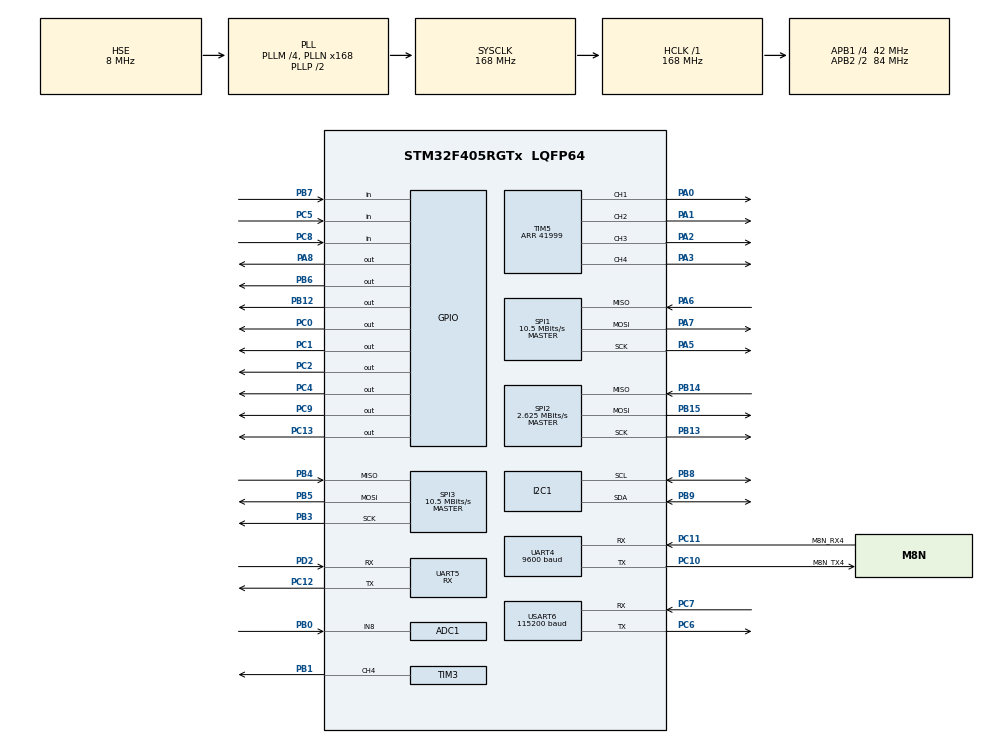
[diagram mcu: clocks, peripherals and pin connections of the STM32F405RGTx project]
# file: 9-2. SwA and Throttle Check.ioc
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ADC1.Channel-0\#ChannelRegularConversion=ADC_CHANNEL_8
ADC1.ClockPrescaler=ADC_CLOCK_SYNC_PCLK_DIV8
ADC1.ContinuousConvMode=ENABLE
ADC1.DMAContinuousRequests=ENABLE
ADC1.NbrOfConversionFlag=1
ADC1.Rank-0\#ChannelRegularConversion=1
ADC1.SamplingTime-0\#ChannelRegularConversion=ADC_SAMPLETIME_480CYCLES
ADC1.master=1
Dma.ADC1.0.Direction=DMA_PERIPH_TO_MEMORY
Dma.ADC1.0.FIFOMode=DMA_FIFOMODE_DISABLE
Dma.ADC1.0.Instance=DMA2_Stream0
Dma.ADC1.0.MemDataAlignment=DMA_MDATAALIGN_HALFWORD
Dma.ADC1.0.MemInc=DMA_MINC_DISABLE
Dma.ADC1.0.Mode=DMA_CIRCULAR
Dma.ADC1.0.PeriphDataAlignment=DMA_PDATAALIGN_HALFWORD
Dma.ADC1.0.PeriphInc=DMA_PINC_DISABLE
Dma.ADC1.0.Priority=DMA_PRIORITY_LOW
Dma.Request0=ADC1
I2C1.I2C_Mode=I2C_Fast
Mcu.Family=STM32F4
Mcu.Name=STM32F405RGTx
Mcu.Package=LQFP64
NVIC.DMA2_Stream0_IRQn=true\:0\:0\:false\:false\:true\:false\:true\:true
NVIC.PriorityGroup=NVIC_PRIORITYGROUP_4
NVIC.UART4_IRQn=true\:0\:0\:false\:false\:true\:true\:true\:true
NVIC.UART5_IRQn=true\:0\:0\:false\:false\:true\:true\:true\:true
NVIC.USART6_IRQn=true\:0\:0\:false\:false\:true\:true\:true\:true
PA0-WKUP.Signal=S_TIM5_CH1
PA1.Signal=S_TIM5_CH2
PA2.Signal=S_TIM5_CH3
PA3.Signal=S_TIM5_CH4
PA5.Mode=Full_Duplex_Master
PA5.Signal=SPI1_SCK
PA6.Mode=Full_Duplex_Master
PA6.Signal=SPI1_MISO
PA7.Mode=Full_Duplex_Master
PA7.Signal=SPI1_MOSI
PA8.Signal=GPIO_Output
PB0.Signal=ADCx_IN8
PB1.Signal=S_TIM3_CH4
PB12.Signal=GPIO_Output
PB13.Mode=Full_Duplex_Master
PB13.Signal=SPI2_SCK
PB14.Mode=Full_Duplex_Master
PB14.Signal=SPI2_MISO
PB15.Mode=Full_Duplex_Master
PB15.Signal=SPI2_MOSI
PB3.Mode=Full_Duplex_Master
PB3.Signal=SPI3_SCK
PB4.Mode=Full_Duplex_Master
PB4.Signal=SPI3_MISO
PB5.Mode=Full_Duplex_Master
PB5.Signal=SPI3_MOSI
PB6.Signal=GPIO_Output
PB7.Signal=GPIO_Input
PB8.Mode=I2C
PB8.Signal=I2C1_SCL
PB9.Mode=I2C
PB9.Signal=I2C1_SDA
PC0.Signal=GPIO_Output
PC1.Signal=GPIO_Output
PC10.GPIO_Label=M8N_TX4
PC10.Mode=Asynchronous
PC10.Signal=UART4_TX
PC11.GPIO_Label=M8N_RX4
PC11.Mode=Asynchronous
PC11.Signal=UART4_RX
PC12.Mode=Asynchronous
PC12.Signal=UART5_TX
PC13-ANTI_TAMP.PinState=GPIO_PIN_SET
PC13-ANTI_TAMP.Signal=GPIO_Output
PC2.Signal=GPIO_Output
PC4.Signal=GPIO_Output
PC5.Signal=GPIO_Input
PC6.Mode=Asynchronous
PC6.Signal=USART6_TX
PC7.Mode=Asynchronous
PC7.Signal=USART6_RX
PC8.Signal=GPIO_Input
PC9.Signal=GPIO_Output
PD2.Mode=Asynchronous
PD2.Signal=UART5_RX
PH0-OSC_IN.Mode=HSE-External-Oscillator
PH0-OSC_IN.Signal=RCC_OSC_IN
PH1-OSC_OUT.Mode=HSE-External-Oscillator
PH1-OSC_OUT.Signal=RCC_OSC_OUT
ProjectManager.HeapSize=0x200
ProjectManager.StackSize=0x400
ProjectManager.TargetToolchain=STM32CubeIDE
RCC.48MHZClocksFreq_Value=84000000
RCC.AHBFreq_Value=168000000
RCC.APB1CLKDivider=RCC_HCLK_DIV4
RCC.APB1Freq_Value=42000000
RCC.APB1TimFreq_Value=84000000
RCC.APB2CLKDivider=RCC_HCLK_DIV2
RCC.APB2Freq_Value=84000000
RCC.APB2TimFreq_Value=168000000
RCC.CortexFreq_Value=168000000
RCC.HCLKFreq_Value=168000000
RCC.HSE_VALUE=8000000
RCC.HSI_VALUE=16000000
RCC.LSE_VALUE=32768
RCC.PLLM=4
RCC.PLLN=168
RCC.PLLSourceVirtual=RCC_PLLSOURCE_HSE
RCC.SYSCLKFreq_VALUE=168000000
RCC.SYSCLKSource=RCC_SYSCLKSOURCE_PLLCLK
RCC.VCOOutputFreq_Value=336000000
SH.ADCx_IN8.0=ADC1_IN8,IN8
SH.S_TIM3_CH4.0=TIM3_CH4,PWM Generation4 CH4
SH.S_TIM5_CH1.0=TIM5_CH1,PWM Generation1 CH1
SH.S_TIM5_CH2.0=TIM5_CH2,PWM Generation2 CH2
SH.S_TIM5_CH3.0=TIM5_CH3,PWM Generation3 CH3
SH.S_TIM5_CH4.0=TIM5_CH4,PWM Generation4 CH4
SPI1.BaudRatePrescaler=SPI_BAUDRATEPRESCALER_8
SPI1.CLKPhase=SPI_PHASE_2EDGE
SPI1.CLKPolarity=SPI_POLARITY_HIGH
SPI1.CalculateBaudRate=10.5 MBits/s
SPI1.Direction=SPI_DIRECTION_2LINES
SPI1.Mode=SPI_MODE_MASTER
SPI1.VirtualType=VM_MASTER
SPI2.BaudRatePrescaler=SPI_BAUDRATEPRESCALER_16
SPI2.CLKPhase=SPI_PHASE_2EDGE
SPI2.CLKPolarity=SPI_POLARITY_HIGH
SPI2.CalculateBaudRate=2.625 MBits/s
SPI2.Direction=SPI_DIRECTION_2LINES
SPI2.Mode=SPI_MODE_MASTER
SPI2.VirtualType=VM_MASTER
SPI3.BaudRatePrescaler=SPI_BAUDRATEPRESCALER_4
SPI3.CLKPhase=SPI_PHASE_2EDGE
SPI3.CLKPolarity=SPI_POLARITY_HIGH
SPI3.CalculateBaudRate=10.5 MBits/s
SPI3.Direction=SPI_DIRECTION_2LINES
SPI3.Mode=SPI_MODE_MASTER
SPI3.VirtualType=VM_MASTER
TIM3.AutoReloadPreload=TIM_AUTORELOAD_PRELOAD_ENABLE
TIM3.Channel-PWM\ Generation4\ CH4=TIM_CHANNEL_4
TIM3.OCFastMode_PWM-PWM\ Generation4\ CH4=TIM_OCFAST_ENABLE
TIM3.Period=20
TIM3.Prescaler=999
TIM3.Pulse-PWM\ Generation4\ CH4=10
TIM5.AutoReloadPreload=TIM_AUTORELOAD_PRELOAD_ENABLE
TIM5.Channel-PWM\ Generation1\ CH1=TIM_CHANNEL_1
TIM5.Channel-PWM\ Generation2\ CH2=TIM_CHANNEL_2
TIM5.Channel-PWM\ Generation3\ CH3=TIM_CHANNEL_3
TIM5.Channel-PWM\ Generation4\ CH4=TIM_CHANNEL_4
TIM5.OCFastMode_PWM-PWM\ Generation1\ CH1=TIM_OCFAST_ENABLE
TIM5.OCFastMode_PWM-PWM\ Generation2\ CH2=TIM_OCFAST_ENABLE
TIM5.OCFastMode_PWM-PWM\ Generation3\ CH3=TIM_OCFAST_ENABLE
TIM5.OCFastMode_PWM-PWM\ Generation4\ CH4=TIM_OCFAST_ENABLE
TIM5.Period=41999
TIM5.Pulse-PWM\ Generation1\ CH1=0
TIM5.Pulse-PWM\ Generation2\ CH2=0
TIM5.Pulse-PWM\ Generation3\ CH3=0
TIM5.Pulse-PWM\ Generation4\ CH4=0
UART4.BaudRate=9600
UART4.VirtualMode=Asynchronous
UART5.Mode=MODE_RX
UART5.VirtualMode=Asynchronous
USART6.BaudRate=115200
USART6.VirtualMode=VM_ASYNC
VP_TIM3_VS_ClockSourceINT.Mode=Internal
VP_TIM5_VS_ClockSourceINT.Mode=Internal
board=custom

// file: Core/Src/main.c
/* USER CODE BEGIN Header */
/**
  ******************************************************************************
  * @file           : main.c
  * @brief          : Main program body
  ******************************************************************************
  * @attention
  *
  * Copyright (c) 2023 STMicroelectronics.
  * All rights reserved.
  *
  * This software is licensed under terms that can be found in the LICENSE file
  * in the root directory of this software component.
  * If no LICENSE file comes with this software, it is provided AS-IS.
  *
  ******************************************************************************
  */
/* USER CODE END Header */
#include "main.h"
#include "adc.h"
#include "dma.h"
#include "i2c.h"
#include "spi.h"
#include "tim.h"
#include "usart.h"
#include "gpio.h"

/* USER CODE BEGIN Includes */
#include <stdio.h>
#include "BNO080.h"
#include "Quaternion.h"
#include "ICM20602.h"
#include "LPS22HH.h"
#include "M8N.h"
#include "FS-iA6B.h"
#include "AT24C08.h"
/* USER CODE END Includes */

/* USER CODE BEGIN PTD */
int _write(int file, char* p, int len){
	for(int i = 0; i < len; i++){
		while(!LL_USART_IsActiveFlag_TXE(USART6));
		LL_USART_TransmitData8(USART6, *(p + i));
	}
	return len;
}
/* USER CODE END PTD */

/* USER CODE BEGIN PV */
extern uint8_t uart6_rx_flag;
extern uint8_t uart6_rx_data;

extern uint8_t m8n_rx_buf[36];
extern uint8_t m8n_rx_cplt_flag;

extern uint8_t ibus_rx_buf[32];
extern uint8_t ibus_rx_cplt_flag;
/* USER CODE END PV */

void SystemClock_Config(void);
/* USER CODE BEGIN PFP */
int Is_iBus_Throttle_Min(void);
void ESC_Calibration(void);
int Is_iBus_Received(void);
void BNO080_Calibration(void);
/* USER CODE END PFP */

int main(void)
{
  /* USER CODE BEGIN 1 */
	float Q[4];
	float quatRadianAccuracy;
   	unsigned char buf_read[16] = {0};
	unsigned char buf_write[16] = {1, 2, 3, 4, 5, 6, 7, 8, 9, 10, 11, 12, 13, 14, 15, 16};
	unsigned short adcVal;
	float batvol;
	short gyro_x_offset =12, gyro_y_offset = 16, gyro_z_offset = 9;
	unsigned char motor_arming_flag = 0;
	unsigned short iBus_SwA_Prev = 0;
  /* USER CODE END 1 */

  /* MCU Configuration--------------------------------------------------------*/

  /* Reset of all peripherals, Initializes the Flash interface and the Systick. */
  HAL_Init();

  /* Configure the system clock */
  SystemClock_Config();

  /* Initialize all configured peripherals */
  MX_GPIO_Init();
  MX_DMA_Init();
  MX_TIM3_Init();
  MX_USART6_UART_Init();
  MX_SPI2_Init();
  MX_SPI1_Init();
  MX_SPI3_Init();
  MX_UART4_Init();
  MX_UART5_Init();
  MX_TIM5_Init();
  MX_I2C1_Init();
  MX_ADC1_Init();
  /* USER CODE BEGIN 2 */
  LL_TIM_EnableCounter(TIM3);//Buzzer

  LL_USART_EnableIT_RXNE(USART6);//Debug UART
  LL_USART_EnableIT_RXNE(UART4);//GPS
  LL_USART_EnableIT_RXNE(UART5);//FS-iA6B

  LL_TIM_EnableCounter(TIM5);//Motor ADC
  LL_TIM_CC_EnableChannel(TIM5, LL_TIM_CHANNEL_CH1);
  LL_TIM_CC_EnableChannel(TIM5, LL_TIM_CHANNEL_CH2);
  LL_TIM_CC_EnableChannel(TIM5, LL_TIM_CHANNEL_CH3);
  LL_TIM_CC_EnableChannel(TIM5, LL_TIM_CHANNEL_CH4);

  HAL_ADC_Start_DMA(&hadc1, &adcVal, 1);//Battery ADC

  TIM3->PSC = 1000;
  LL_TIM_CC_EnableChannel(TIM3, LL_TIM_CHANNEL_CH4);
  HAL_Delay(60);
  LL_TIM_CC_DisableChannel(TIM3, LL_TIM_CHANNEL_CH4);
  HAL_Delay(60);
  LL_TIM_CC_EnableChannel(TIM3, LL_TIM_CHANNEL_CH4);
  HAL_Delay(60);
  LL_TIM_CC_DisableChannel(TIM3, LL_TIM_CHANNEL_CH4);
  HAL_Delay(60);
  printf("Checking Sensor connection.\n");

  if(BNO080_Initialization() != 0)
  {
	  LL_TIM_CC_EnableChannel(TIM3, LL_TIM_CHANNEL_CH4);
	  TIM3->PSC = 1000;
	  HAL_Delay(100);
	  TIM3->PSC = 1500;
	  HAL_Delay(100);
	  TIM3->PSC = 2000;
	  HAL_Delay(100);
	  LL_TIM_CC_DisableChannel(TIM3, LL_TIM_CHANNEL_CH4);

	  printf("\nBNO080 failed. Program shutting down...");

	  while(1)
	  {
		  LL_TIM_CC_DisableChannel(TIM3, LL_TIM_CHANNEL_CH4);
		  LL_GPIO_TogglePin(GPIOC, LL_GPIO_PIN_0);
		  HAL_Delay(200);
		  LL_TIM_CC_EnableChannel(TIM3, LL_TIM_CHANNEL_CH4);
		  LL_GPIO_TogglePin(GPIOC, LL_GPIO_PIN_0);
		  HAL_Delay(200);
	  }
  }
  BNO080_enableRotationVector(2500);

  if(ICM20602_Initialization() != 0)
  {
	  LL_TIM_CC_EnableChannel(TIM3, LL_TIM_CHANNEL_CH4);
	  TIM3->PSC = 1000;
	  HAL_Delay(100);
	  TIM3->PSC = 1500;
	  HAL_Delay(100);
	  TIM3->PSC = 2000;
	  HAL_Delay(100);
	  LL_TIM_CC_DisableChannel(TIM3, LL_TIM_CHANNEL_CH4);

	  printf("\nICM-20602 failed. Program shutting down...");

	  while(1)
	  {
		  LL_TIM_CC_DisableChannel(TIM3, LL_TIM_CHANNEL_CH4);
		  LL_GPIO_TogglePin(GPIOC, LL_GPIO_PIN_1);
		  HAL_Delay(200);
		  LL_TIM_CC_EnableChannel(TIM3, LL_TIM_CHANNEL_CH4);
		  LL_GPIO_TogglePin(GPIOC, LL_GPIO_PIN_1);
		  HAL_Delay(200);
	  }
  }

  if(LPS22HH_Initialization() != 0)
  {
	  LL_TIM_CC_EnableChannel(TIM3, LL_TIM_CHANNEL_CH4);
	  TIM3->PSC = 1000;
	  HAL_Delay(100);
	  TIM3->PSC = 1500;
	  HAL_Delay(100);
	  TIM3->PSC = 2000;
	  HAL_Delay(100);
	  LL_TIM_CC_DisableChannel(TIM3, LL_TIM_CHANNEL_CH4);

	  printf("\nLPS22HH failed. Program shutting down...");

	  while(1)
	  {
		  LL_TIM_CC_DisableChannel(TIM3, LL_TIM_CHANNEL_CH4);
		  LL_GPIO_TogglePin(GPIOC, LL_GPIO_PIN_2);
		  HAL_Delay(200);
		  LL_TIM_CC_EnableChannel(TIM3, LL_TIM_CHANNEL_CH4);
		  LL_GPIO_TogglePin(GPIOC, LL_GPIO_PIN_2);
		  HAL_Delay(200);
	  }
  }
  printf("All Sensor OK!\n");
  M8N_Initialzation();

  ICM20602_Writebyte(0x13, (gyro_x_offset * -2)>>8);
  ICM20602_Writebyte(0x14, (gyro_x_offset * -2));

  ICM20602_Writebyte(0x15, (gyro_y_offset * -2)>>8);
  ICM20602_Writebyte(0x16, (gyro_y_offset * -2));

  ICM20602_Writebyte(0x17, (gyro_z_offset * -2)>>8);
  ICM20602_Writebyte(0x18, (gyro_z_offset * -2));

  while(Is_iBus_Received() == 0){
	  LL_TIM_CC_EnableChannel(TIM3, LL_TIM_CHANNEL_CH4);
	  TIM3->PSC = 3000;
	  HAL_Delay(200);
	  LL_TIM_CC_DisableChannel(TIM3, LL_TIM_CHANNEL_CH4);
	  HAL_Delay(200);
  }

  if(iBus.SwC == 2000)
  {
	  LL_TIM_CC_EnableChannel(TIM3, LL_TIM_CHANNEL_CH4);
	  TIM3->PSC = 1500;
	  HAL_Delay(200);
	  TIM3->PSC = 2000;
	  HAL_Delay(200);
	  TIM3->PSC = 1500;
	  HAL_Delay(200);
	  TIM3->PSC = 2000;
	  LL_TIM_CC_DisableChannel(TIM3, LL_TIM_CHANNEL_CH4);

	  ESC_Calibration();
	  while(iBus.SwC != 1000) {
		  Is_iBus_Received();
		  LL_TIM_CC_EnableChannel(TIM3, LL_TIM_CHANNEL_CH4);
		  TIM3->PSC = 1500;
		  HAL_Delay(200);
		  TIM3->PSC = 2000;
		  HAL_Delay(200);
		  LL_TIM_CC_DisableChannel(TIM3, LL_TIM_CHANNEL_CH4);
	  }
  }
  else if(iBus.SwC == 1500)
  {
	  LL_TIM_CC_EnableChannel(TIM3, LL_TIM_CHANNEL_CH4);
	  TIM3->PSC = 1500;
	  HAL_Delay(200);
	  TIM3->PSC = 2000;
	  HAL_Delay(200);
	  TIM3->PSC = 1500;
	  HAL_Delay(200);
	  TIM3->PSC = 2000;
	  LL_TIM_CC_DisableChannel(TIM3, LL_TIM_CHANNEL_CH4);

	  BNO080_Calibration();
	  while(iBus.SwC != 1000) {
		  Is_iBus_Received();
		  LL_TIM_CC_EnableChannel(TIM3, LL_TIM_CHANNEL_CH4);
		  TIM3->PSC = 1500;
		  HAL_Delay(200);
		  TIM3->PSC = 2000;
		  HAL_Delay(200);
		  LL_TIM_CC_DisableChannel(TIM3, LL_TIM_CHANNEL_CH4);
	  }
  }

  while(Is_iBus_Throttle_Min() == 0 || iBus.SwA == 2000) {
	  LL_TIM_CC_EnableChannel(TIM3, LL_TIM_CHANNEL_CH4);
	  TIM3->PSC = 1000;
	  HAL_Delay(70);
	  LL_TIM_CC_DisableChannel(TIM3, LL_TIM_CHANNEL_CH4);
	  HAL_Delay(70);
  }

  LL_TIM_CC_EnableChannel(TIM3, LL_TIM_CHANNEL_CH4);
  TIM3->PSC = 2000;
  HAL_Delay(100);
  TIM3->PSC = 1500;
  HAL_Delay(100);
  TIM3->PSC = 1000;
  HAL_Delay(100);
  LL_TIM_CC_DisableChannel(TIM3, LL_TIM_CHANNEL_CH4);

  printf("Start\n");

  /* USER CODE END 2 */

  /* Infinite loop */
  /* USER CODE BEGIN WHILE */
  while (1)
  {

/*	  if(BNO080_dataAvailable() == 1){
		  LL_GPIO_TogglePin(GPIOC, LL_GPIO_PIN_0);
		  Q[0] = BNO080_getQuatI();
		  Q[1] = BNO080_getQuatJ();
		  Q[2] = BNO080_getQuatK();
		  Q[3] = BNO080_getQuatReal();
		  quatRadianAccuracy = BNO080_getQuatRadianAccuracy();

		  Quaternion_Update(&Q[0]);

		  //printf("%.2f\t%.2f\n", BNO080_Roll, BNO080_Pitch);
		  printf("%.2f\n", BNO080_Yaw);
	  }*/

/*	  if(ICM20602_DataReady() == 1){
		  LL_GPIO_TogglePin(GPIOC, LL_GPIO_PIN_1);
		  ICM20602_Get3AxisGyroRawData(&ICM20602.gyro_x_raw);
		  ICM20602.gyro_x = ICM20602.gyro_x_raw * 2000.f / 32768.f;
		  ICM20602.gyro_y = ICM20602.gyro_y_raw * 2000.f / 32768.f;
		  ICM20602.gyro_z = ICM20602.gyro_z_raw * 2000.f / 32768.f;

		 printf("%d, %d, %d\n", ICM20602.gyro_x_raw, ICM20602.gyro_y_raw, ICM20602.gyro_z_raw);
	  }*/

/*
	  if(LPS22HH_DataReady() == 1) {
		  LPS22HH_GetPressure(&LPS22HH.pressure_raw);
		  LPS22HH_GetTemperature(&LPS22HH.temperature_raw);
		  LPS22HH.baroAlt = getAltitude2(LPS22HH.pressure_raw/4096.f, LPS22HH.temperature_raw/100.f);
#define X 0.90f
		  LPS22HH.baroAltFilt = LPS22HH.baroAltFilt * X + LPS22HH.baroAlt * (1.0f -X);

		  printf("%d, %d\n", (int)(LPS22HH.baroAlt * 100), (int)(LPS22HH.baroAltFilt * 100));
	  }
*/

/*	  if(m8n_rx_cplt_flag == 1) {
		  m8n_rx_cplt_flag = 0;
		  if(M8N_UBX_CHKSUM_Check(&m8n_rx_buf[0], 36) == 1){
			  LL_GPIO_TogglePin(GPIOC, LL_GPIO_PIN_2);
			  M8N_UBX_NAV_POSLLH_Pasing(&m8n_rx_buf[0], &posllh);

			  printf("LAT: %d\tLOT: %d\tLength: %d\t\n", posllh.lon, posllh.lat, posllh.length);
		  }
	  }*/
	  if(ibus_rx_cplt_flag == 1){
		  ibus_rx_cplt_flag = 0;
		  if(iBus_Check_CHKSUM(&ibus_rx_buf[0], 32) == 1){
			  LL_GPIO_TogglePin(GPIOC, LL_GPIO_PIN_2);

			  iBus_Parsing(&ibus_rx_buf[0], &iBus);

			  if(iBus_isActive_Failsafe(&iBus) == 1){
				  LL_TIM_CC_EnableChannel(TIM3, LL_TIM_CHANNEL_CH4);
			  }
			  else
				  LL_TIM_CC_DisableChannel(TIM3, LL_TIM_CHANNEL_CH4);

			  //printf("%d\t%d\t%d\t%d\t%d\t%d\t%d\n", iBus.RH, iBus.RV, iBus.LV, iBus.LH, iBus.SwA, iBus.SwC, iBus.FailSafe);
			  //HAL_Delay(50);
		  }
	  }
	  batvol = adcVal * 0.003619f;
	  //printf("%d\t %f\n", adcVal, batvol);
	  if(batvol < 10.0f)
	  {
		  TIM3->PSC = 1500;
		  LL_TIM_CC_EnableChannel(TIM3, LL_TIM_CHANNEL_CH4);
	  }
	  else
		  LL_TIM_CC_DisableChannel(TIM3, LL_TIM_CHANNEL_CH4);

	  if(iBus.SwA == 2000 && iBus_SwA_Prev != 2000)
	  {
		  if(iBus.LV < 1010)
		  {
			  motor_arming_flag = 1;
			  printf("Here\n");
		  }
		  else
		  {
			  while(Is_iBus_Throttle_Min() == 0 || iBus.SwA == 2000)
			  {
				  LL_TIM_CC_EnableChannel(TIM3, LL_TIM_CHANNEL_CH4);
				  TIM3->PSC = 1000;
				  HAL_Delay(70);
				  LL_TIM_CC_DisableChannel(TIM3, LL_TIM_CHANNEL_CH4);
				  HAL_Delay(70);
				  printf("OK!\n");
			  }
		  }
	  }
	  iBus_SwA_Prev = iBus.SwA;

	  if(iBus.SwA != 2000)
	  {
		  motor_arming_flag = 0;
	  }
	  if(motor_arming_flag == 1)
	  {
		  TIM5->CCR1 = 10500 + 500 + (iBus.LV - 1000) * 10;
		  TIM5->CCR2 = 10500 + 500 + (iBus.LV - 1000) * 10;
		  TIM5->CCR3 = 10500 + 500 + (iBus.LV - 1000) * 10;
		  TIM5->CCR4 = 10500 + 500 + (iBus.LV - 1000) * 10;
	  }
	  else
	  {
		  TIM5->CCR1 = 10500;
		  TIM5->CCR2 = 10500;
		  TIM5->CCR3 = 10500;
		  TIM5->CCR4 = 10500;
	  }

  }
    /* USER CODE END WHILE */

}

void SystemClock_Config(void)
{
  RCC_OscInitTypeDef RCC_OscInitStruct = {0};
  RCC_ClkInitTypeDef RCC_ClkInitStruct = {0};

  /** Configure the main internal regulator output voltage
  */
  __HAL_RCC_PWR_CLK_ENABLE();
  __HAL_PWR_VOLTAGESCALING_CONFIG(PWR_REGULATOR_VOLTAGE_SCALE1);

  /** Initializes the RCC Oscillators according to the specified parameters
  * in the RCC_OscInitTypeDef structure.
  */
  RCC_OscInitStruct.OscillatorType = RCC_OSCILLATORTYPE_HSE;
  RCC_OscInitStruct.HSEState = RCC_HSE_ON;
  RCC_OscInitStruct.PLL.PLLState = RCC_PLL_ON;
  RCC_OscInitStruct.PLL.PLLSource = RCC_PLLSOURCE_HSE;
  RCC_OscInitStruct.PLL.PLLM = 4;
  RCC_OscInitStruct.PLL.PLLN = 168;
  RCC_OscInitStruct.PLL.PLLP = RCC_PLLP_DIV2;
  RCC_OscInitStruct.PLL.PLLQ = 4;
  if (HAL_RCC_OscConfig(&RCC_OscInitStruct) != HAL_OK)
  {
    Error_Handler();
  }

  /** Initializes the CPU, AHB and APB buses clocks
  */
  RCC_ClkInitStruct.ClockType = RCC_CLOCKTYPE_HCLK|RCC_CLOCKTYPE_SYSCLK
                              |RCC_CLOCKTYPE_PCLK1|RCC_CLOCKTYPE_PCLK2;
  RCC_ClkInitStruct.SYSCLKSource = RCC_SYSCLKSOURCE_PLLCLK;
  RCC_ClkInitStruct.AHBCLKDivider = RCC_SYSCLK_DIV1;
  RCC_ClkInitStruct.APB1CLKDivider = RCC_HCLK_DIV4;
  RCC_ClkInitStruct.APB2CLKDivider = RCC_HCLK_DIV2;

  if (HAL_RCC_ClockConfig(&RCC_ClkInitStruct, FLASH_LATENCY_5) != HAL_OK)
  {
    Error_Handler();
  }
}

/* USER CODE BEGIN 4 */
int Is_iBus_Throttle_Min(void) {
	if(ibus_rx_cplt_flag == 1){
		ibus_rx_cplt_flag = 0;
		if(iBus_Check_CHKSUM(&ibus_rx_buf[0], 32) == 1){

			iBus_Parsing(&ibus_rx_buf[0], &iBus);
			if(iBus.LV < 1010)
				return 1;
		}
	}
	return 0;
}

void ESC_Calibration(void) {
	  TIM5->CCR1 = 21000;
	  TIM5->CCR2 = 21000;
	  TIM5->CCR3 = 21000;
	  TIM5->CCR4 = 21000;
	  HAL_Delay(7000);

	  TIM5->CCR1 = 10500;
	  TIM5->CCR2 = 10500;
	  TIM5->CCR3 = 10500;
	  TIM5->CCR4 = 10500;
	  HAL_Delay(8000);
}
int Is_iBus_Received(void) {
	if(ibus_rx_cplt_flag == 1){
		ibus_rx_cplt_flag = 0;
		if(iBus_Check_CHKSUM(&ibus_rx_buf[0], 32) == 1){

			iBus_Parsing(&ibus_rx_buf[0], &iBus);
			return 1;
		}
	}
	return 0;
}
void BNO080_Calibration(void)
{
	//Resets BNO080 to disable All output
	BNO080_Initialization();

	//BNO080/BNO085 Configuration
	//Enable dynamic calibration for accelerometer, gyroscope, and magnetometer
	//Enable Game Rotation Vector output
	//Enable Magnetic Field output
	BNO080_calibrateAll(); //Turn on cal for Accel, Gyro, and Mag
	BNO080_enableGameRotationVector(20000); //Send data update every 20ms (50Hz)
	BNO080_enableMagnetometer(20000); //Send data update every 20ms (50Hz)

	//Once magnetic field is 2 or 3, run the Save DCD Now command
	printf("Calibrating BNO080. Pull up FS-i6 SWC to end calibration and save to flash\n");
	printf("Output in form x, y, z, in uTesla\n\n");

	//while loop for calibration procedure
	//Iterates until iBus.SwC is mid point (1500)
	//Calibration procedure should be done while this loop is in iteration.
	while(iBus.SwC == 1500)
	{
		if(BNO080_dataAvailable() == 1)
		{
			//Observing the status bit of the magnetic field output
			float x = BNO080_getMagX();
			float y = BNO080_getMagY();
			float z = BNO080_getMagZ();
			unsigned char accuracy = BNO080_getMagAccuracy();

			float quatI = BNO080_getQuatI();
			float quatJ = BNO080_getQuatJ();
			float quatK = BNO080_getQuatK();
			float quatReal = BNO080_getQuatReal();
			unsigned char sensorAccuracy = BNO080_getQuatAccuracy();

			printf("%f,%f,%f,", x, y, z);
			if (accuracy == 0) printf("Unreliable\t");
			else if (accuracy == 1) printf("Low\t");
			else if (accuracy == 2) printf("Medium\t");
			else if (accuracy == 3) printf("High\t");

			printf("\t%f,%f,%f,%f,", quatI, quatI, quatI, quatReal);
			if (sensorAccuracy == 0) printf("Unreliable\n");
			else if (sensorAccuracy == 1) printf("Low\n");
			else if (sensorAccuracy == 2) printf("Medium\n");
			else if (sensorAccuracy == 3) printf("High\n");

			//Turn the LED and buzzer on when both accuracy and sensorAccuracy is high
			if(accuracy == 3 && sensorAccuracy == 3)
			{
				LL_GPIO_SetOutputPin(GPIOC, LL_GPIO_PIN_0 | LL_GPIO_PIN_1 | LL_GPIO_PIN_2);
				TIM3->PSC = 65000; //Very low frequency
				LL_TIM_CC_EnableChannel(TIM3, LL_TIM_CHANNEL_CH4);
			}
			else
			{
				LL_GPIO_ResetOutputPin(GPIOC, LL_GPIO_PIN_0 | LL_GPIO_PIN_1 | LL_GPIO_PIN_2);
				LL_TIM_CC_DisableChannel(TIM3, LL_TIM_CHANNEL_CH4);
			}
		}

		Is_iBus_Received(); //Refreshes iBus Data for iBus.SwC
		HAL_Delay(100);
	}

	//Ends the loop when iBus.SwC is not mid point
	//Turn the LED and buzzer off
	LL_GPIO_ResetOutputPin(GPIOC, LL_GPIO_PIN_0 | LL_GPIO_PIN_1 | LL_GPIO_PIN_2);
	LL_TIM_CC_DisableChannel(TIM3, LL_TIM_CHANNEL_CH4);

	//Saves the current dynamic calibration data (DCD) to memory
	//Sends command to get the latest calibration status
	BNO080_saveCalibration();
	BNO080_requestCalibrationStatus();

	//Wait for calibration response, timeout if no response
	int counter = 100;
	while(1)
	{
		if(--counter == 0) break;
		if(BNO080_dataAvailable())
		{
			//The IMU can report many different things. We must wait
			//for the ME Calibration Response Status byte to go to zero
			if(BNO080_calibrationComplete() == 1)
			{
				printf("\nCalibration data successfully stored\n");
				LL_TIM_CC_EnableChannel(TIM3, LL_TIM_CHANNEL_CH4);
				TIM3->PSC = 2000;
				HAL_Delay(300);
				TIM3->PSC = 1500;
				HAL_Delay(300);
				LL_TIM_CC_DisableChannel(TIM3, LL_TIM_CHANNEL_CH4);
				HAL_Delay(1000);
				break;
			}
		}
		HAL_Delay(10);
	}
	if(counter == 0)
	{
		printf("\nCalibration data failed to store. Please try again.\n");
		LL_TIM_CC_EnableChannel(TIM3, LL_TIM_CHANNEL_CH4);
		TIM3->PSC = 1500;
		HAL_Delay(300);
		TIM3->PSC = 2000;
		HAL_Delay(300);
		LL_TIM_CC_DisableChannel(TIM3, LL_TIM_CHANNEL_CH4);
		HAL_Delay(1000);
	}

	//BNO080_endCalibration(); //Turns off all calibration
	//In general, calibration should be left on at all times. The BNO080
	//auto-calibrates and auto-records cal data roughly every 5 minutes

	//Resets BNO080 to disable Game Rotation Vector and Magnetometer
	//Enables Rotation Vector
	BNO080_Initialization();
	BNO080_enableRotationVector(2500); //Send data update every 2.5ms (400Hz)
}
/* USER CODE END 4 */

void Error_Handler(void)
{
  __disable_irq();
  while (1)
  {
  }
}
